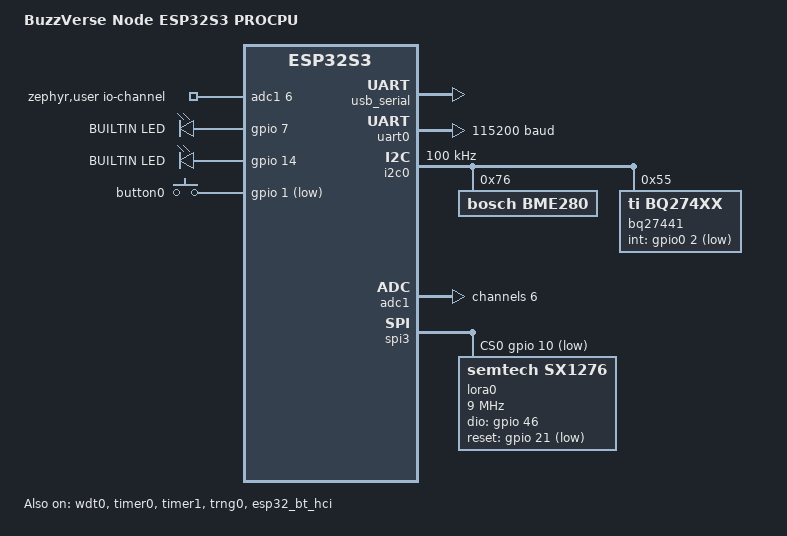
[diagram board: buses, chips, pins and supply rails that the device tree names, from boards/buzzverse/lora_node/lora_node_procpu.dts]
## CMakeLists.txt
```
# This CMake file is picked by the Zephyr build system because it is defined
# as the module CMake entry point (see zephyr/module.yml).


# This is needed so that custom driver classes using system calls are taken into
# account

add_subdirectory(lib)
```

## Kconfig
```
# Copyright (c) 2021 Nordic Semiconductor ASA
# SPDX-License-Identifier: Apache-2.0
#
# This Kconfig file is picked by the Zephyr build system because it is defined
# as the module Kconfig entry point (see zephyr/module.yml). You can browse
# module options by going to Zephyr -> Modules in Kconfig.

rsource "lib/Kconfig"

config LORAMAC_REGION_EU433
  bool
  default y if BOARD_LORA_NODE_ESP32S3_PROCPU

config LORAMAC_REGION_EU868
  bool
  default y if BOARD_NUCLEO_WL55JC
```

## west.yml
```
# Copyright (c) 2021 Nordic Semiconductor ASA
# SPDX-License-Identifier: Apache-2.0

manifest:
  self:
    west-commands: scripts/west-commands.yml

  projects:
    - name: zephyr
      url: https://github.com/zephyrproject-rtos/zephyr
      revision: v4.3-branch
      import:
        name-allowlist:
          - hal_espressif
          - hal_stm32
          - cmsis_6
          - loramac-node
          - mcuboot
          - nanopb
```

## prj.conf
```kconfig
CONFIG_CPP=y
CONFIG_GLIBCXX_LIBCPP=y
CONFIG_NEWLIB_LIBC=y

CONFIG_FLASH_SIZE=16384
CONFIG_FLASH_BASE_ADDRESS=0x0

CONFIG_SYSTEM_WORKQUEUE_STACK_SIZE=2048

CONFIG_REBOOT=y

CONFIG_LOG=y
CONFIG_LOG_DEFAULT_LEVEL=4

CONFIG_I2C=y
CONFIG_GPIO=y
CONFIG_SPI=y
CONFIG_SENSOR=y
CONFIG_SENSOR_ASYNC_API=y

CONFIG_LORA=y
CONFIG_LORAWAN=y
CONFIG_LORAMAC_REGION_EU433=y
```

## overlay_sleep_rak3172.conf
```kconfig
# overlay_sleep_rak3172.conf
# Apply with: -DEXTRA_CONF_FILE=../overlay_sleep_rak3172.conf

# PM options for low power
CONFIG_PM_DEVICE_SYSTEM_MANAGED=n

# Disable all logging and console
CONFIG_LOG=n
CONFIG_LOG_PRINTK=n
CONFIG_LOG_MODE_IMMEDIATE=n
CONFIG_LOG_BACKEND_RTT=n
CONFIG_CONSOLE=n
CONFIG_UART_CONSOLE=n
CONFIG_SERIAL=n
CONFIG_BOOT_BANNER=n
CONFIG_STDOUT_CONSOLE=n
CONFIG_PRINTK=n

# Disable debug
CONFIG_DEBUG=n
CONFIG_DEBUG_THREAD_INFO=n
CONFIG_DEBUG_OPTIMIZATIONS=n

CONFIG_LORAWAN_NVM_SETTINGS=n
```

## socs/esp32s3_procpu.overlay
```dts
#include <zephyr/dt-bindings/pinctrl/esp-pinctrl-common.h>
#include <zephyr/dt-bindings/pinctrl/esp32s3-pinctrl.h>
#include <zephyr/dt-bindings/pinctrl/esp32s3-gpio-sigmap.h>

/ {
    aliases {
        bme280-i2c = &i2c0;
    };
};

&i2c0 {
	status = "okay";
	pinctrl-0 = <&i2c0_default>;
	pinctrl-names = "default";
	clock-frequency = <I2C_BITRATE_STANDARD>;
	bme280@76 {
		compatible = "bosch,bme280";
		reg = <0x76>;
		status = "okay";
	};
};

&spi2 {
	status = "okay";
	pinctrl-0 = <&spim2_default>;
	pinctrl-names = "default";
};

&pinctrl {
	i2c0_default: i2c0_default {
		group1 {
			pinmux = <I2C0_SDA_GPIO6>,
				 <I2C0_SCL_GPIO7>;
			bias-pull-up;
			drive-open-drain;
			output-high;
		};
	};

	spim2_default: spim2_default {
		group1 {
			pinmux = <SPIM2_MISO_GPIO4>,
				 <SPIM2_SCLK_GPIO5>,
				 <SPIM2_CSEL_GPIO10>;
		};
		group2 {
			pinmux = <SPIM2_MOSI_GPIO8>;
			output-low;
		};
	};
};
```

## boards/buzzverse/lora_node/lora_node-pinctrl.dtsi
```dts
/*
 * Copyright 2022 Google LLC
 *
 * SPDX-License-Identifier: Apache-2.0
 */

#include <zephyr/dt-bindings/pinctrl/esp-pinctrl-common.h>
#include <zephyr/dt-bindings/pinctrl/esp32s3-pinctrl.h>
#include <zephyr/dt-bindings/pinctrl/esp32s3-gpio-sigmap.h>

&pinctrl {
	uart0_default: uart0_default {
		group1 {
			pinmux = <UART0_TX_GPIO43>;
			output-high;
		};

		group2 {
			pinmux = <UART0_RX_GPIO44>;
			bias-pull-up;
		};
	};

	spim3_default: spim3_default {
		group1 {
			pinmux = <SPIM3_MISO_GPIO13>,
				 <SPIM3_SCLK_GPIO12>;
		};
		group2 {
			pinmux = <SPIM3_MOSI_GPIO11>;
			output-low;
		};
	};

	i2c0_default: i2c0_default {
		group1 {
			pinmux =
					<I2C0_SDA_GPIO17>,
					<I2C0_SCL_GPIO18>;
			bias-pull-up;
			drive-open-drain;
			output-high;
		};
	};
};
```

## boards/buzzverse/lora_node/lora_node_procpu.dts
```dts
/*
 * Copyright (c) 2024 BuzzVerse.
 *
 * SPDX-License-Identifier: Apache-2.0
 */

/dts-v1/;

#include <zephyr/dt-bindings/input/input-event-codes.h>
#include <espressif/esp32s3/esp32s3_wroom_n16r2.dtsi>
#include <espressif/partitions_0x0_amp.dtsi>
#include "lora_node-pinctrl.dtsi"

/ {
	model = "BuzzVerse Node ESP32S3 PROCPU";
	compatible = "espressif,esp32s3";

	chosen {
		zephyr,sram = &sram0;
		zephyr,console = &usb_serial;
		zephyr,shell-uart = &usb_serial;
		zephyr,flash = &flash0;
		zephyr,code-partition = &slot0_partition;
		zephyr,bt-hci = &esp32_bt_hci;
	};

	aliases {
		i2c-0 = &i2c0;
		watchdog0 = &wdt0;
		led0 = &led0;
		led1 = &led1;
		sw0 = &button0;
		bme280-i2c = &i2c0;
		bq27441-i2c = &i2c0;
		lora0 = &lora0;
	};
	
	zephyr,user {
        io-channels = <&adc1 6>;
        io-channels-names = "a0";
    };

	leds {
		compatible = "gpio-leds";

		led0: led_0 {
			gpios = <&gpio 7 GPIO_ACTIVE_HIGH>;
			label = "BUILTIN LED";
		};

		led1: led_1 {
			gpios = <&gpio 14 GPIO_ACTIVE_HIGH>;
			label = "BUILTIN LED";
		};
	};

	buttons {
		compatible = "gpio-keys";

		button0: button_0 {
			gpios = <&gpio 1 (GPIO_PULL_UP | GPIO_ACTIVE_LOW)>;
			zephyr,code = <INPUT_KEY_0>;
		};
	};

};

&usb_serial {
	status = "okay";
};

&uart0 {
	status = "okay";
	current-speed = <115200>;
	pinctrl-0 = <&uart0_default>;
	pinctrl-names = "default";
};

&i2c0 {
	status = "okay";
	clock-frequency = <I2C_BITRATE_STANDARD>;
	pinctrl-0 = <&i2c0_default>;
	pinctrl-names = "default";

	bme280@76 {
		compatible = "bosch,bme280";
		reg = <0x76>;
		status = "okay";
	};

	bq27441@55 {
		compatible = "ti,bq274xx";
		reg = <0x55>;
		design-voltage = <3650>;
		design-capacity = <3500>;
		taper-current = <50>;
		terminate-voltage = <3000>;
		status = "okay";
		int-gpios = <&gpio0 2 GPIO_ACTIVE_LOW>;
	};
};

/* ADC pin configuration */
&pinctrl {
    adc_in_pins: adc_in_pins {
        pinmux =  <&gpio0 8 GPIO_ACTIVE_LOW>;
    };
};


&adc1 {
    status = "okay";

    #address-cells = <1>;
    #size-cells = <0>;

    /* Add the label 'soil_sensor' here so the C++ code can find it */
    soil_sensor: channel@6 {
        reg = <6>;
        zephyr,gain = "ADC_GAIN_1";
        zephyr,reference = "ADC_REF_INTERNAL";
        zephyr,acquisition-time = <ADC_ACQ_TIME_DEFAULT>;
        zephyr,resolution = <12>;
    };
};


&spi3 {
	#address-cells = <1>;
	#size-cells = <0>;
	status = "okay";
	pinctrl-0 = <&spim3_default>;
	pinctrl-names = "default";
	cs-gpios = <&gpio 10 GPIO_ACTIVE_LOW>;

	lora0: sx1278@0 {
		compatible = "semtech,sx1276";
		reg = <0>;
		spi-max-frequency = <9000000>;
		power-amplifier-output = "pa-boost";
		dio-gpios = <&gpio 46 (GPIO_PULL_DOWN | GPIO_ACTIVE_HIGH)>;
		reset-gpios = <&gpio 21 GPIO_ACTIVE_LOW>;
	};
};

&wdt0 {
	status = "okay";
};

&timer0 {
	status = "okay";
};

&timer1 {
	status = "okay";
};

&trng0 {
	status = "okay";
};

&esp32_bt_hci {
	status = "okay";
};
```

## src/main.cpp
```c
#include "etl/circular_buffer.h"

#include <zephyr/device.h>
#include <zephyr/devicetree.h>
#include <zephyr/drivers/sensor.h>
#include <zephyr/drivers/sensor_data_types.h>
#include <zephyr/dsp/print_format.h>
#include <zephyr/kernel.h>
#include <zephyr/rtio/rtio.h>

const struct device *const dev = DEVICE_DT_GET_ANY(bosch_bme280);
SENSOR_DT_READ_IODEV(iodev, DT_COMPAT_GET_ANY_STATUS_OKAY(bosch_bme280),
                     {SENSOR_CHAN_AMBIENT_TEMP, 0}, {SENSOR_CHAN_HUMIDITY, 0},
                     {SENSOR_CHAN_PRESS, 0});

RTIO_DEFINE(ctx, 1, 1);
int main() {
  etl::circular_buffer<int32_t, 100> temp_buffer;

  printk("Hello %s\n", CONFIG_BOARD);

  if (dev == NULL) {
    return 0;
  }

  while (1) {
    uint8_t buf[128];

    int rc = sensor_read(&iodev, &ctx, buf, 128);

    if (rc != 0) {
      printk("%s: sensor_read() failed: %d\n", dev->name, rc);
      return rc;
    }

    const struct sensor_decoder_api *decoder;

    rc = sensor_get_decoder(dev, &decoder);

    if (rc != 0) {
      printk("%s: sensor_get_decode() failed: %d\n", dev->name, rc);
      return rc;
    }

    uint32_t temp_fit = 0;
    struct sensor_q31_data temp_data = {0};

    decoder->decode(buf, (struct sensor_chan_spec){SENSOR_CHAN_AMBIENT_TEMP, 0},
                    &temp_fit, 1, &temp_data);
    temp_buffer.push(temp_data.readings[0].temperature);

    uint32_t press_fit = 0;
    struct sensor_q31_data press_data = {0};

    decoder->decode(buf, (struct sensor_chan_spec){SENSOR_CHAN_PRESS, 0},
                    &press_fit, 1, &press_data);

    uint32_t hum_fit = 0;
    struct sensor_q31_data hum_data = {0};

    decoder->decode(buf, (struct sensor_chan_spec){SENSOR_CHAN_HUMIDITY, 0},
                    &hum_fit, 1, &hum_data);

    printk("temp: %s%d.%d; press: %s%d.%d; humidity: %s%d.%d, elements in "
           "buffer: %d\n",
           PRIq_arg(temp_data.readings[0].temperature, 6, temp_data.shift),
           PRIq_arg(press_data.readings[0].pressure, 6, press_data.shift),
           PRIq_arg(hum_data.readings[0].humidity, 6, hum_data.shift),
           temp_buffer.size());

    k_sleep(K_MSEC(500));
  }
  return 0;
}
```
